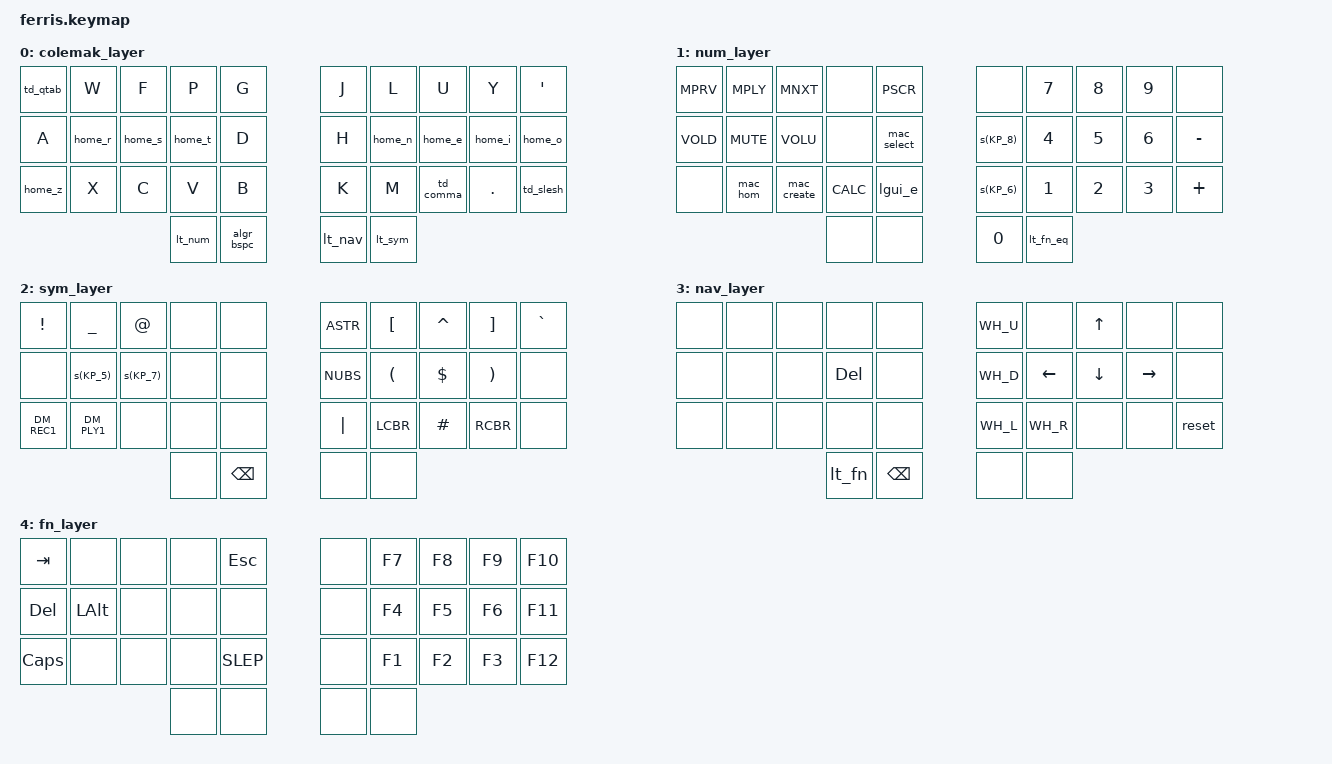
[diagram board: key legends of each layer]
#include <behaviors.dtsi>
#include "bindings.dtsi"
#include "combos.dtsi"
#include "macros.dtsi"

/ {
    keymap {
        compatible = "zmk,keymap";

        colemak_layer {
            bindings = <
                &td_qtab  &kp W     &kp F       &kp P        &kp G          &kp J    &kp L     &kp U     &kp Y     &kp SQT
                &kp A     &home_r   &home_s     &home_t      &kp D          &kp H    &home_n   &home_e   &home_i   &home_o
                &home_z   &kp X     &kp C       &kp V        &kp B          &kp K    &kp M     &td_comma &kp DOT   &td_slesh
                          &lt_num   &algr_bspc                          &lt_nav     &lt_sym
            >;
        };

        num_layer {
            bindings = <
                &kp MPRV  &kp MPLY  &kp MNXT    &none        &kp PSCR       &none    &kp N7    &kp N8    &kp N9    &none
                &kp VOLD  &kp MUTE  &kp VOLU    &none        &mac_select    &s(KP_8) &kp N4    &kp N5    &kp N6    &kp MINUS
                &none     &mac_hom  &mac_create &kp CALC     &lgui_e        &s(KP_6) &kp N1    &kp N2    &kp N3    &kp PLUS
                          &none     &none                              &kp N0     &lt_fn_eq
            >;
        };

        sym_layer {
            bindings = <
                &kp EXCL  &kp UNDER &kp AT      &none        &none          &kp ASTR &kp LBKT  &kp CARET &kp RBKT  &kp GRAVE
                &none     &s(KP_5)  &s(KP_7)     &none        &none          &kp NUBS &kp LPAR  &kp DLLR  &kp RPAR  &none
                &kp DM_REC1 &kp DM_PLY1 &none   &none        &none          &kp PIPE &kp LCBR  &kp HASH  &kp RCBR  &none
                             &none   &kp BSPC                         &none      &none
            >;
        };

        nav_layer {
            bindings = <
                &none     &none     &none       &none        &none          &kp WH_U &none     &kp UP    &none     &none
                &none     &none     &none       &kp DEL      &none          &kp WH_D &kp LEFT  &kp DOWN  &kp RIGHT &none
                &none     &none     &none       &none        &none          &kp WH_L &kp WH_R  &none     &none     &reset
                            &lt_fn    &kp BSPC                        &none      &none
            >;
        };

        fn_layer {
            bindings = <
                &kp TAB   &none     &none       &none        &kp ESC        &none    &kp F7    &kp F8    &kp F9    &kp F10
                &kp DEL   &kp LALT  &none       &none        &none          &none    &kp F4    &kp F5    &kp F6    &kp F11
                &kp CAPS  &none     &none       &none        &kp SLEP       &none    &kp F1    &kp F2    &kp F3    &kp F12
                            &none   &none                              &none      &none
            >;
        };
    };
};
